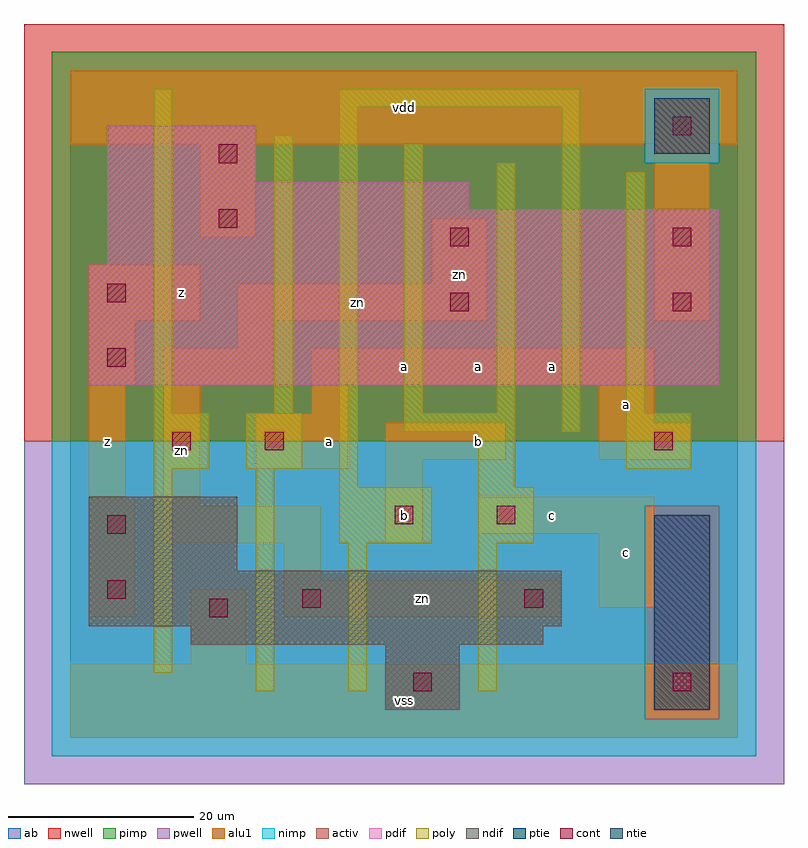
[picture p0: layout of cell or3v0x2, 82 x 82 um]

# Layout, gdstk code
import gdstk
lib = gdstk.Library(unit=1e-6, precision=1e-09)
def R(c, l, rs):  # rectangles x0, y0, x1, y1
    for r in rs: c.add(gdstk.rectangle(r[:2], r[2:], *l))
ndif = (3, 0)
pdif = (4, 0)
ntie = (5, 0)
ptie = (6, 0)
cont = (25, 0)
pwell = (41, 0)
nwell = (42, 0)
activ = (43, 0)
pimp = (44, 0)
nimp = (45, 0)
poly = (46, 0)
alu1 = (49, 0)
ab = (63, 0)

or3v0x2 = lib.new_cell('or3v0x2')
R(or3v0x2, ndif, [(34,3,42,10), (13,10,51,12), (2,12,53,18), (2,18,18,26)])
R(or3v0x2, pdif, [(2,38,70,51), (4,51,70,57), (4,57,43,60), (4,60,20,66)])
R(or3v0x2, ntie, [(63,63,69,69)])
R(or3v0x2, ptie, [(63,3,69,24)])
R(or3v0x2, cont, [(37,5,39,7), (65,5,67,7), (15,13,17,15), (25,14,27,16), (49,14,51,16), (4,15,6,17), (4,22,6,24), (35,23,37,25), (46,23,48,25), (11,31,13,33), (21,31,23,33), (63,31,65,33), (4,40,6,42), (41,46,43,48), (65,46,67,48), (4,47,6,49), (41,53,43,55), (65,53,67,55), (16,55,18,57), (16,62,18,64), (65,65,67,67)])
R(or3v0x2, pwell, [(-5,-5,77,32)])
R(or3v0x2, nwell, [(-5,32,77,77)])
R(or3v0x2, activ, [(34,3,42,10), (63,3,69,24), (13,10,51,12), (2,12,53,18), (2,18,18,26), (2,38,70,51), (4,51,70,57), (4,57,43,60), (4,60,20,66), (63,63,69,69)])
R(or3v0x2, pimp, [(62,2,70,25), (-2,32,74,62), (-2,62,62,70), (70,62,74,70), (-2,70,74,74)])
R(or3v0x2, nimp, [(-2,-2,74,2), (-2,2,62,25), (70,2,74,25), (-2,25,74,32), (62,62,70,70)])
R(or3v0x2, poly, [(20,5,22,29), (30,5,32,21), (44,5,46,21), (9,7,11,29), (29,21,39,27), (44,21,50,27), (29,27,31,68), (44,27,48,33), (9,29,15,35), (19,29,25,35), (60,29,67,35), (36,33,48,35), (53,33,55,68), (9,35,11,70), (22,35,24,65), (36,35,38,64), (46,35,48,62), (60,35,62,61), (29,68,55,70)])
R(or3v0x2, alu1, [(0,0,72,8), (13,8,19,16), (2,13,7,26), (23,13,53,17), (57,14,63,22), (23,17,27,21), (10,21,27,25), (34,21,38,30), (44,22,63,26), (10,25,14,38), (2,26,6,38), (20,29,30,35), (34,30,47,34), (57,30,67,34), (57,34,63,38), (26,35,30,38), (2,38,7,45), (10,38,22,42), (26,38,63,42), (18,42,22,45), (2,45,14,51), (18,45,45,49), (63,45,69,64), (39,49,45,56), (14,54,20,64), (0,64,72,72)])
R(or3v0x2, ab, [(0,0,72,72)])
or3v0x2.add(gdstk.Label('zn', (12,31), layer=49, texttype=0))
or3v0x2.add(gdstk.Label('zn', (42,50), layer=49, texttype=0))
or3v0x2.add(gdstk.Label('zn', (31,47), layer=49, texttype=0))
or3v0x2.add(gdstk.Label('zn', (38,15), layer=49, texttype=0))
or3v0x2.add(gdstk.Label('z', (4,32), layer=49, texttype=0))
or3v0x2.add(gdstk.Label('z', (12,48), layer=49, texttype=0))
or3v0x2.add(gdstk.Label('a', (28,32), layer=49, texttype=0))
or3v0x2.add(gdstk.Label('vss', (36,4), layer=49, texttype=0))
or3v0x2.add(gdstk.Label('b', (36,24), layer=49, texttype=0))
or3v0x2.add(gdstk.Label('b', (44,32), layer=49, texttype=0))
or3v0x2.add(gdstk.Label('c', (52,24), layer=49, texttype=0))
or3v0x2.add(gdstk.Label('a', (44,40), layer=49, texttype=0))
or3v0x2.add(gdstk.Label('a', (52,40), layer=49, texttype=0))
or3v0x2.add(gdstk.Label('a', (36,40), layer=49, texttype=0))
or3v0x2.add(gdstk.Label('vdd', (36,68), layer=49, texttype=0))
or3v0x2.add(gdstk.Label('c', (60,20), layer=49, texttype=0))
or3v0x2.add(gdstk.Label('a', (60,36), layer=49, texttype=0))

lib.write_gds('or3v0x2.gds')
